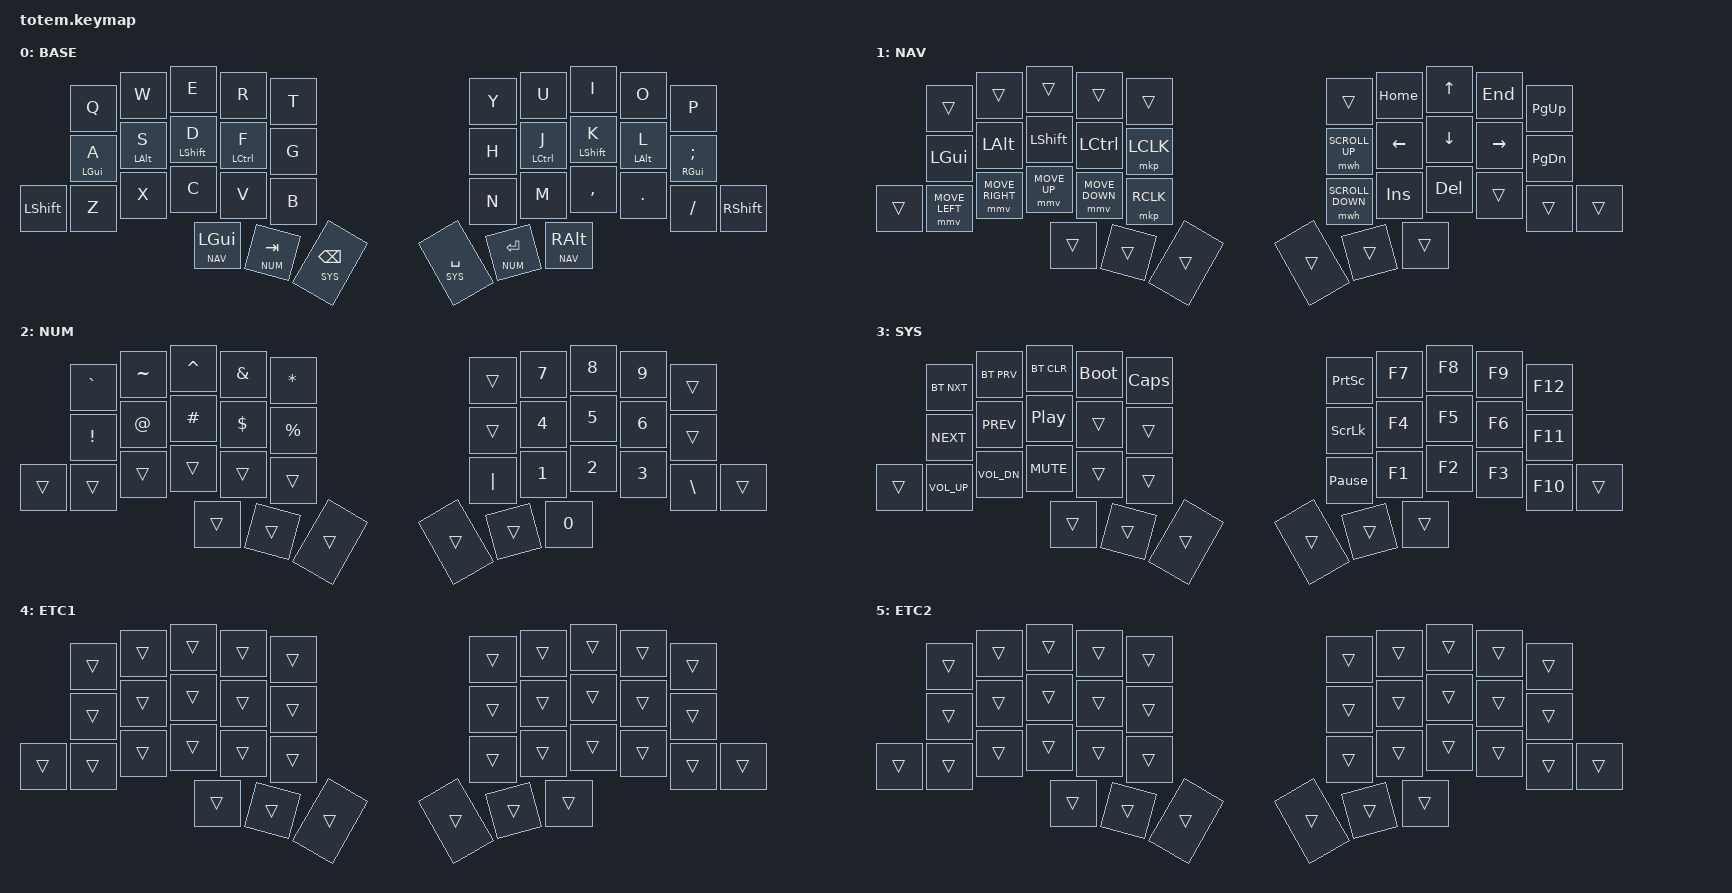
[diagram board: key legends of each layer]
#include <behaviors.dtsi>
#include <dt-bindings/zmk/mouse.h>
#include <dt-bindings/zmk/bt.h>
#include <dt-bindings/zmk/keys.h>

#define BASE 0
#define NAV  1
#define NUM  2
#define SYS  3
#define ETC1 4
#define ETC2 5

// mod-tap

&mt {
    quick-tap-ms = <100>;
    global-quick-tap;
    flavor = "tap-preferred";
    tapping-term-ms = <300>;
};

//      ┏━━━━┳━━━━┳━━━━┳━━━━┳━━━━┓  ┏━━━━┳━━━━┳━━━━┳━━━━┳━━━━┓
//      ┃ 0  ┃ 1  ┃ 2  ┃ 3  ┃ 4  ┃  ┃ 5  ┃ 6  ┃ 7  ┃ 8  ┃ 9  ┃
//      ┣━━━━╋━━━━╋━━━━╋━━━━╋━━━━┫  ┣━━━━╋━━━━╋━━━━╋━━━━╋━━━━┫
//      ┃ 10 ┃ 11 ┃ 12 ┃ 13 ┃ 14 ┃  ┃ 15 ┃ 16 ┃ 17 ┃ 18 ┃ 19 ┃
// ┏━━━━╋━━━━╋━━━━╋━━━━╋━━━━╋━━━━┫  ┣━━━━╋━━━━╋━━━━╋━━━━╋━━━━╋━━━━┓
// ┃ 20 ┃ 21 ┃ 22 ┃ 23 ┃ 24 ┃ 25 ┃  ┃ 26 ┃ 27 ┃ 28 ┃ 29 ┃ 30 ┃ 31 ┃
// ┗━━━━┻━━━━┻━━━━╋━━━━╋━━━━╋━━━━┫  ┣━━━━╋━━━━╋━━━━╋━━━━┻━━━━┻━━━━┛
//                ┃ 32 ┃ 33 ┃ 34 ┃  ┃ 35 ┃ 36 ┃ 37 ┃
//                ┗━━━━┻━━━━┻━━━━┛  ┗━━━━┻━━━━┻━━━━┛

/ {
    combos {
        compatible = "zmk,combos";

        combo_etc1_layer {
            timeout-ms = <50>;
            key-positions = <34 35>;
            bindings = <&mo ETC1>;
        };

        combo_esc {
            timeout-ms = <50>;
            key-positions = <0 1>;
            bindings = <&kp ESC>;
        };

        combo_lpar {
            timeout-ms = <50>;
            key-positions = <12 13>;
            bindings = <&kp LPAR>;
        };

        combo_rpar {
            timeout-ms = <50>;
            key-positions = <16 17>;
            bindings = <&kp RPAR>;
        };

        combo_lbkt {
            timeout-ms = <50>;
            key-positions = <11 12>;
            bindings = <&kp LBKT>;
        };

        combo_rbkt {
            timeout-ms = <50>;
            key-positions = <17 18>;
            bindings = <&kp RBKT>;
        };

        combo_lbrc {
            timeout-ms = <50>;
            key-positions = <1 2>;
            bindings = <&kp LBRC>;
        };

        combo_rbrc {
            timeout-ms = <50>;
            key-positions = <7 8>;
            bindings = <&kp RBRC>;
        };

        combo_lt {
            timeout-ms = <50>;
            key-positions = <2 11>;
            bindings = <&kp LT>;
        };

        combo_gt {
            timeout-ms = <50>;
            key-positions = <7 18>;
            bindings = <&kp GT>;
        };

        combo_plus {
            timeout-ms = <50>;
            key-positions = <23 24>;
            bindings = <&kp PLUS>;
        };

        combo_equal {
            timeout-ms = <50>;
            key-positions = <22 23>;
            bindings = <&kp EQUAL>;
        };

        combo_minus {
            timeout-ms = <50>;
            key-positions = <26 27>;
            bindings = <&kp MINUS>;
        };

        combo_under {
            timeout-ms = <50>;
            key-positions = <27 28>;
            bindings = <&kp UNDER>;
        };

        combo_colon {
            timeout-ms = <50>;
            key-positions = <6 16>;
            bindings = <&kp COLON>;
        };

        combo_dqt {
            timeout-ms = <50>;
            key-positions = <7 17>;
            bindings = <&kp DQT>;
        };

        combo_sqt {
            timeout-ms = <50>;
            key-positions = <8 18>;
            bindings = <&kp SQT>;
        };

        combo_1 {
            timeout-ms = <50>;
            key-positions = <2 3>;
            bindings = <&kp N1>;
        };

        combo_0 {
            timeout-ms = <50>;
            key-positions = <6 7>;
            bindings = <&kp N0>;
        };
    };

    keymap {
        compatible = "zmk,keymap";

        // ▄▄▄▄▄▄▄▄▄▄▄▄▄▄▄▄▄▄▄▄▄▄▄▄▄▄▄▄▄▄▄▄▄▄▄▄▄▄▄▄▄▄▄▄▄▄▄▄▄▄▄▄▄▄▄▄▄▄▄▄▄▄▄▄▄▄▄▄▄▄▄▄▄▄▄▄▄▄▄▄▄▄▄▄▄▄▄▄▄▄▄▄▄▄▄▄▄▄▄▄▄▄▄▄▄▄▄▄▄▄▄▄▄▄▄▄▄▄▄▄▄▄▄▄▄▄▄▄▄▄▄▄▄▄▄▄▄▄▄▄▄▄▄▄▄▄▄▄▄

        base_layer {
            // ┏━━━━━━━━━━━━━━━━━━━━━━━━━━━━━━━━━━━━━━━┓

            label = "BASE";

            // ┗━━━━━━━━━━━━━━━━━━━━━━━━━━━━━━━━━━━━━━━┛
            //             ┏━━━━━━━━━━━┳━━━━━━━━━━━┳━━━━━━━━━━━┳━━━━━━━━━━━┳━━━━━━━━━━━┓   ┏━━━━━━━━━━━┳━━━━━━━━━━━┳━━━━━━━━━━━┳━━━━━━━━━━━┳━━━━━━━━━━━┓
            //             ┃     Q     ┃     W     ┃     E     ┃     R     ┃     T     ┃   ┃     Y     ┃     U     ┃     I     ┃     O     ┃     P     ┃
            //             ┣━━━━━━━━━━━╋━━━━━━━━━━━╋━━━━━━━━━━━╋━━━━━━━━━━━╋━━━━━━━━━━━┫   ┣━━━━━━━━━━━╋━━━━━━━━━━━╋━━━━━━━━━━━╋━━━━━━━━━━━╋━━━━━━━━━━━┫
            //             ┃   A GUI   ┃   S ALT   ┃  D SHIFT  ┃  F CTRL   ┃     G     ┃   ┃     H     ┃  J CTRL   ┃  K SHIFT  ┃   L ALT   ┃  ; GUI    ┃
            // ┏━━━━━━━━━━━╋━━━━━━━━━━━╋━━━━━━━━━━━╋━━━━━━━━━━━╋━━━━━━━━━━━╋━━━━━━━━━━━┫   ┣━━━━━━━━━━━╋━━━━━━━━━━━╋━━━━━━━━━━━╋━━━━━━━━━━━╋━━━━━━━━━━━╋━━━━━━━━━━━┓
            // ┃   SHIFT   ┃     Z     ┃     X     ┃     C     ┃     V     ┃     B     ┃   ┃     N     ┃     M     ┃     ,     ┃     .     ┃     /     ┃   SHIFT   ┃
            // ┗━━━━━━━━━━━┻━━━━━━━━━━━┻━━━━━━━━━━━╋━━━━━━━━━━━╋━━━━━━━━━━━╋━━━━━━━━━━━┫   ┣━━━━━━━━━━━╋━━━━━━━━━━━╋━━━━━━━━━━━╋━━━━━━━━━━━┻━━━━━━━━━━━┻━━━━━━━━━━━┛
            //                                     ┃    GUI    ┃    TAB    ┃   BSPC    ┃   ┃    SPC    ┃ ENTER SYM ┃ RALT NAV  ┃
            //                                     ┗━━━━━━━━━━━┻━━━━━━━━━━━┻━━━━━━━━━━━┛   ┗━━━━━━━━━━━┻━━━━━━━━━━━┻━━━━━━━━━━━┛

            bindings = <
           &kp Q       &kp W       &kp E         &kp R        &kp T           &kp Y          &kp U          &kp I         &kp O       &kp P
           &mt LGUI A  &mt LALT S  &mt LSHFT D   &mt LCTRL F  &kp G           &kp H          &mt LCTRL J    &mt LSHFT K   &mt LALT L  &mt RGUI SEMI
&kp LSHFT  &kp Z       &kp X       &kp C         &kp V        &kp B           &kp N          &kp M          &kp COMMA     &kp DOT     &kp FSLH       &kp RSHFT
                                   &lt NAV LGUI  &lt NUM TAB  &lt SYS BSPC    &lt SYS SPACE  &lt NUM ENTER  &lt NAV RALT
            >;
        };

        // ▄▄▄▄▄▄▄▄▄▄▄▄▄▄▄▄▄▄▄▄▄▄▄▄▄▄▄▄▄▄▄▄▄▄▄▄▄▄▄▄▄▄▄▄▄▄▄▄▄▄▄▄▄▄▄▄▄▄▄▄▄▄▄▄▄▄▄▄▄▄▄▄▄▄▄▄▄▄▄▄▄▄▄▄▄▄▄▄▄▄▄▄▄▄▄▄▄▄▄▄▄▄▄▄▄▄▄▄▄▄▄▄▄▄▄▄▄▄▄▄▄▄▄▄▄▄▄▄▄▄▄▄▄▄▄▄▄▄▄▄▄▄▄▄▄▄▄▄▄

        nav_layer {
            // ┏━━━━━━━━━━━━━━━━━━━━━━━━━━━━━━━━━━━━━━━┓

            label = "NAV";

            // ┗━━━━━━━━━━━━━━━━━━━━━━━━━━━━━━━━━━━━━━━┛
            //             ┏━━━━━━━━━━━┳━━━━━━━━━━━┳━━━━━━━━━━━┳━━━━━━━━━━━┳━━━━━━━━━━━┓   ┏━━━━━━━━━━━┳━━━━━━━━━━━┳━━━━━━━━━━━┳━━━━━━━━━━━┳━━━━━━━━━━━┓
            //             ┃           ┃           ┃           ┃           ┃           ┃   ┃           ┃    HOME   ┃    UP     ┃   END     ┃   P  UP   ┃
            //             ┣━━━━━━━━━━━╋━━━━━━━━━━━╋━━━━━━━━━━━╋━━━━━━━━━━━╋━━━━━━━━━━━┫   ┣━━━━━━━━━━━╋━━━━━━━━━━━╋━━━━━━━━━━━╋━━━━━━━━━━━╋━━━━━━━━━━━┫
            //             ┃ LGUI      ┃ LALT      ┃ LSHIFT    ┃ LCTRL     ┃           ┃   ┃   U_WH_U  ┃    LEFT   ┃    DOWN   ┃   RIGHT   ┃   P DOWN  ┃
            // ┏━━━━━━━━━━━╋━━━━━━━━━━━╋━━━━━━━━━━━╋━━━━━━━━━━━╋━━━━━━━━━━━╋━━━━━━━━━━━┫   ┣━━━━━━━━━━━╋━━━━━━━━━━━╋━━━━━━━━━━━╋━━━━━━━━━━━╋━━━━━━━━━━━╋━━━━━━━━━━━┓
            // ┃           ┃           ┃           ┃           ┃           ┃           ┃   ┃   U_WH_D  ┃    INS    ┃    DEL    ┃           ┃           ┃           ┃
            // ┗━━━━━━━━━━━┻━━━━━━━━━━━┻━━━━━━━━━━━╋━━━━━━━━━━━╋━━━━━━━━━━━╋━━━━━━━━━━━┫   ┣━━━━━━━━━━━╋━━━━━━━━━━━╋━━━━━━━━━━━╋━━━━━━━━━━━┻━━━━━━━━━━━┻━━━━━━━━━━━┛
            //                                     ┃           ┃           ┃           ┃   ┃           ┃           ┃           ┃
            //                                     ┗━━━━━━━━━━━┻━━━━━━━━━━━┻━━━━━━━━━━━┛   ┗━━━━━━━━━━━┻━━━━━━━━━━━┻━━━━━━━━━━━┛

            bindings = <
        &trans          &trans           &trans        &trans          &trans       &trans            &kp HOME  &kp UP    &kp END    &kp PG_UP
        &kp LGUI        &kp LALT         &kp LSHFT     &kp LCTRL       &mkp LCLK    &mwh SCROLL_UP    &kp LEFT  &kp DOWN  &kp RIGHT  &kp PG_DN
&trans  &mmv MOVE_LEFT  &mmv MOVE_RIGHT  &mmv MOVE_UP  &mmv MOVE_DOWN  &mkp RCLK    &mwh SCROLL_DOWN  &kp INS   &kp DEL   &trans     &trans     &trans
                                         &trans        &trans          &trans       &trans            &trans    &trans
            >;
        };

        // ▄▄▄▄▄▄▄▄▄▄▄▄▄▄▄▄▄▄▄▄▄▄▄▄▄▄▄▄▄▄▄▄▄▄▄▄▄▄▄▄▄▄▄▄▄▄▄▄▄▄▄▄▄▄▄▄▄▄▄▄▄▄▄▄▄▄▄▄▄▄▄▄▄▄▄▄▄▄▄▄▄▄▄▄▄▄▄▄▄▄▄▄▄▄▄▄▄▄▄▄▄▄▄▄▄▄▄▄▄▄▄▄▄▄▄▄▄▄▄▄▄▄▄▄▄▄▄▄▄▄▄▄▄▄▄▄▄▄▄▄▄▄▄▄▄▄▄▄▄

        num_layer {
            // ┏━━━━━━━━━━━━━━━━━━━━━━━━━━━━━━━━━━━━━━━┓

            label = "NUM";

            // ┗━━━━━━━━━━━━━━━━━━━━━━━━━━━━━━━━━━━━━━━┛
            //             ┏━━━━━━━━━━━┳━━━━━━━━━━━┳━━━━━━━━━━━┳━━━━━━━━━━━┳━━━━━━━━━━━┓   ┏━━━━━━━━━━━┳━━━━━━━━━━━┳━━━━━━━━━━━┳━━━━━━━━━━━┳━━━━━━━━━━━┓
            //             ┃  `        ┃ ~         ┃  ^        ┃ &         ┃ *         ┃   ┃           ┃ 7         ┃ 8         ┃ 9         ┃           ┃
            //             ┣━━━━━━━━━━━╋━━━━━━━━━━━╋━━━━━━━━━━━╋━━━━━━━━━━━╋━━━━━━━━━━━┫   ┣━━━━━━━━━━━╋━━━━━━━━━━━╋━━━━━━━━━━━╋━━━━━━━━━━━╋━━━━━━━━━━━┫
            //             ┃  !        ┃ @         ┃  #        ┃ $         ┃ %         ┃   ┃           ┃ 4         ┃ 5         ┃ 6         ┃           ┃
            // ┏━━━━━━━━━━━╋━━━━━━━━━━━╋━━━━━━━━━━━╋━━━━━━━━━━━╋━━━━━━━━━━━╋━━━━━━━━━━━┫   ┣━━━━━━━━━━━╋━━━━━━━━━━━╋━━━━━━━━━━━╋━━━━━━━━━━━╋━━━━━━━━━━━╋━━━━━━━━━━━┓
            // ┃           ┃           ┃           ┃           ┃           ┃           ┃   ┃ |         ┃ 1         ┃ 2         ┃ 3         ┃ \         ┃           ┃
            // ┗━━━━━━━━━━━┻━━━━━━━━━━━┻━━━━━━━━━━━╋━━━━━━━━━━━╋━━━━━━━━━━━╋━━━━━━━━━━━┫   ┣━━━━━━━━━━━╋━━━━━━━━━━━╋━━━━━━━━━━━╋━━━━━━━━━━━┻━━━━━━━━━━━┻━━━━━━━━━━━┛
            //                                     ┃           ┃           ┃           ┃   ┃           ┃           ┃ 0         ┃
            //                                     ┗━━━━━━━━━━━┻━━━━━━━━━━━┻━━━━━━━━━━━┛   ┗━━━━━━━━━━━┻━━━━━━━━━━━┻━━━━━━━━━━━┛

            bindings = <
        &kp GRAVE  &kp TILDE  &kp CARET  &kp AMPS  &kp STAR     &trans    &kp N7  &kp N8  &kp N9  &trans
        &kp EXCL   &kp AT     &kp HASH   &kp DLLR  &kp PRCNT    &trans    &kp N4  &kp N5  &kp N6  &trans
&trans  &trans     &trans     &trans     &trans    &trans       &kp PIPE  &kp N1  &kp N2  &kp N3  &kp BSLH  &trans
                              &trans     &trans    &trans       &trans    &trans  &kp N0
            >;
        };

        // ▄▄▄▄▄▄▄▄▄▄▄▄▄▄▄▄▄▄▄▄▄▄▄▄▄▄▄▄▄▄▄▄▄▄▄▄▄▄▄▄▄▄▄▄▄▄▄▄▄▄▄▄▄▄▄▄▄▄▄▄▄▄▄▄▄▄▄▄▄▄▄▄▄▄▄▄▄▄▄▄▄▄▄▄▄▄▄▄▄▄▄▄▄▄▄▄▄▄▄▄▄▄▄▄▄▄▄▄▄▄▄▄▄▄▄▄▄▄▄▄▄▄▄▄▄▄▄▄▄▄▄▄▄▄▄▄▄▄▄▄▄▄▄▄▄▄▄▄▄

        sys_layer {
            // ┏━━━━━━━━━━━━━━━━━━━━━━━━━━━━━━━━━━━━━━━┓

            label = "SYS";

            // ┗━━━━━━━━━━━━━━━━━━━━━━━━━━━━━━━━━━━━━━━┛
            //             ┏━━━━━━━━━━━┳━━━━━━━━━━━┳━━━━━━━━━━━┳━━━━━━━━━━━┳━━━━━━━━━━━┓   ┏━━━━━━━━━━━┳━━━━━━━━━━━┳━━━━━━━━━━━┳━━━━━━━━━━━┳━━━━━━━━━━━┓
            //             ┃ BT NEXT   ┃ BT PREV   ┃ BT CLEAR  ┃ BOOTLOAD  ┃ CAPS LOCK ┃   ┃ Print SCRN┃    F7     ┃    F8     ┃    F9     ┃    F12    ┃
            //             ┣━━━━━━━━━━━╋━━━━━━━━━━━╋━━━━━━━━━━━╋━━━━━━━━━━━╋━━━━━━━━━━━┫   ┣━━━━━━━━━━━╋━━━━━━━━━━━╋━━━━━━━━━━━╋━━━━━━━━━━━╋━━━━━━━━━━━┫
            //             ┃ MEDIA NEXT┃ MEDIA PREV┃ MEDIA p/p ┃           ┃           ┃   ┃Scroll LOCK┃    F4     ┃    F5     ┃    F6     ┃    F11    ┃
            // ┏━━━━━━━━━━━╋━━━━━━━━━━━╋━━━━━━━━━━━╋━━━━━━━━━━━╋━━━━━━━━━━━╋━━━━━━━━━━━┫   ┣━━━━━━━━━━━╋━━━━━━━━━━━╋━━━━━━━━━━━╋━━━━━━━━━━━╋━━━━━━━━━━━╋━━━━━━━━━━━┓
            // ┃           ┃ VOL UP    ┃ VOL DN    ┃ VOL MUTE  ┃           ┃           ┃   ┃PAUSE BREAK┃    F1     ┃    F2     ┃    F3     ┃    F10    ┃           ┃
            // ┗━━━━━━━━━━━┻━━━━━━━━━━━┻━━━━━━━━━━━╋━━━━━━━━━━━╋━━━━━━━━━━━╋━━━━━━━━━━━┫   ┣━━━━━━━━━━━╋━━━━━━━━━━━╋━━━━━━━━━━━╋━━━━━━━━━━━┻━━━━━━━━━━━┻━━━━━━━━━━━┛
            //                                     ┃           ┃           ┃           ┃   ┃           ┃           ┃           ┃
            //                                     ┗━━━━━━━━━━━┻━━━━━━━━━━━┻━━━━━━━━━━━┛   ┗━━━━━━━━━━━┻━━━━━━━━━━━┻━━━━━━━━━━━┛

            bindings = <
        &bt BT_NXT    &bt BT_PRV    &bt BT_CLR  &bootloader  &kp CAPS    &kp PSCRN        &kp F7  &kp F8  &kp F9  &kp F12
        &kp C_NEXT    &kp C_PREV    &kp C_PP    &trans       &trans      &kp SLCK         &kp F4  &kp F5  &kp F6  &kp F11
&trans  &kp C_VOL_UP  &kp C_VOL_DN  &kp C_MUTE  &trans       &trans      &kp PAUSE_BREAK  &kp F1  &kp F2  &kp F3  &kp F10  &trans
                                    &trans      &trans       &trans      &trans           &trans  &trans
            >;
        };

        // ▄▄▄▄▄▄▄▄▄▄▄▄▄▄▄▄▄▄▄▄▄▄▄▄▄▄▄▄▄▄▄▄▄▄▄▄▄▄▄▄▄▄▄▄▄▄▄▄▄▄▄▄▄▄▄▄▄▄▄▄▄▄▄▄▄▄▄▄▄▄▄▄▄▄▄▄▄▄▄▄▄▄▄▄▄▄▄▄▄▄▄▄▄▄▄▄▄▄▄▄▄▄▄▄▄▄▄▄▄▄▄▄▄▄▄▄▄▄▄▄▄▄▄▄▄▄▄▄▄▄▄▄▄▄▄▄▄▄▄▄▄▄▄▄▄▄▄▄▄

        etc1_layer {
            // ┏━━━━━━━━━━━━━━━━━━━━━━━━━━━━━━━━━━━━━━━┓

            label = "ETC1";

            // ┗━━━━━━━━━━━━━━━━━━━━━━━━━━━━━━━━━━━━━━━┛
            //             ┏━━━━━━━━━━━┳━━━━━━━━━━━┳━━━━━━━━━━━┳━━━━━━━━━━━┳━━━━━━━━━━━┓   ┏━━━━━━━━━━━┳━━━━━━━━━━━┳━━━━━━━━━━━┳━━━━━━━━━━━┳━━━━━━━━━━━┓
            //             ┃           ┃           ┃           ┃           ┃           ┃   ┃           ┃           ┃           ┃           ┃           ┃
            //             ┣━━━━━━━━━━━╋━━━━━━━━━━━╋━━━━━━━━━━━╋━━━━━━━━━━━╋━━━━━━━━━━━┫   ┣━━━━━━━━━━━╋━━━━━━━━━━━╋━━━━━━━━━━━╋━━━━━━━━━━━╋━━━━━━━━━━━┫
            //             ┃           ┃           ┃           ┃           ┃           ┃   ┃           ┃           ┃           ┃           ┃           ┃
            // ┏━━━━━━━━━━━╋━━━━━━━━━━━╋━━━━━━━━━━━╋━━━━━━━━━━━╋━━━━━━━━━━━╋━━━━━━━━━━━┫   ┣━━━━━━━━━━━╋━━━━━━━━━━━╋━━━━━━━━━━━╋━━━━━━━━━━━╋━━━━━━━━━━━╋━━━━━━━━━━━┓
            // ┃           ┃           ┃           ┃           ┃           ┃           ┃   ┃           ┃           ┃           ┃           ┃           ┃           ┃
            // ┗━━━━━━━━━━━┻━━━━━━━━━━━┻━━━━━━━━━━━╋━━━━━━━━━━━╋━━━━━━━━━━━╋━━━━━━━━━━━┫   ┣━━━━━━━━━━━╋━━━━━━━━━━━╋━━━━━━━━━━━╋━━━━━━━━━━━┻━━━━━━━━━━━┻━━━━━━━━━━━┛
            //                                     ┃           ┃           ┃           ┃   ┃           ┃           ┃           ┃
            //                                     ┗━━━━━━━━━━━┻━━━━━━━━━━━┻━━━━━━━━━━━┛   ┗━━━━━━━━━━━┻━━━━━━━━━━━┻━━━━━━━━━━━┛

            bindings = <
        &trans  &trans  &trans  &trans  &trans    &trans  &trans  &trans  &trans  &trans
        &trans  &trans  &trans  &trans  &trans    &trans  &trans  &trans  &trans  &trans
&trans  &trans  &trans  &trans  &trans  &trans    &trans  &trans  &trans  &trans  &trans  &trans
                        &trans  &trans  &trans    &trans  &trans  &trans
            >;
        };

        // ▄▄▄▄▄▄▄▄▄▄▄▄▄▄▄▄▄▄▄▄▄▄▄▄▄▄▄▄▄▄▄▄▄▄▄▄▄▄▄▄▄▄▄▄▄▄▄▄▄▄▄▄▄▄▄▄▄▄▄▄▄▄▄▄▄▄▄▄▄▄▄▄▄▄▄▄▄▄▄▄▄▄▄▄▄▄▄▄▄▄▄▄▄▄▄▄▄▄▄▄▄▄▄▄▄▄▄▄▄▄▄▄▄▄▄▄▄▄▄▄▄▄▄▄▄▄▄▄▄▄▄▄▄▄▄▄▄▄▄▄▄▄▄▄▄▄▄▄▄

        etc2_layer {
            // ┏━━━━━━━━━━━━━━━━━━━━━━━━━━━━━━━━━━━━━━━┓

            label = "ETC2";

            // ┗━━━━━━━━━━━━━━━━━━━━━━━━━━━━━━━━━━━━━━━┛
            //             ┏━━━━━━━━━━━┳━━━━━━━━━━━┳━━━━━━━━━━━┳━━━━━━━━━━━┳━━━━━━━━━━━┓   ┏━━━━━━━━━━━┳━━━━━━━━━━━┳━━━━━━━━━━━┳━━━━━━━━━━━┳━━━━━━━━━━━┓
            //             ┃           ┃           ┃           ┃           ┃           ┃   ┃           ┃           ┃           ┃           ┃           ┃
            //             ┣━━━━━━━━━━━╋━━━━━━━━━━━╋━━━━━━━━━━━╋━━━━━━━━━━━╋━━━━━━━━━━━┫   ┣━━━━━━━━━━━╋━━━━━━━━━━━╋━━━━━━━━━━━╋━━━━━━━━━━━╋━━━━━━━━━━━┫
            //             ┃           ┃           ┃           ┃           ┃           ┃   ┃           ┃           ┃           ┃           ┃           ┃
            // ┏━━━━━━━━━━━╋━━━━━━━━━━━╋━━━━━━━━━━━╋━━━━━━━━━━━╋━━━━━━━━━━━╋━━━━━━━━━━━┫   ┣━━━━━━━━━━━╋━━━━━━━━━━━╋━━━━━━━━━━━╋━━━━━━━━━━━╋━━━━━━━━━━━╋━━━━━━━━━━━┓
            // ┃           ┃           ┃           ┃           ┃           ┃           ┃   ┃           ┃           ┃           ┃           ┃           ┃           ┃
            // ┗━━━━━━━━━━━┻━━━━━━━━━━━┻━━━━━━━━━━━╋━━━━━━━━━━━╋━━━━━━━━━━━╋━━━━━━━━━━━┫   ┣━━━━━━━━━━━╋━━━━━━━━━━━╋━━━━━━━━━━━╋━━━━━━━━━━━┻━━━━━━━━━━━┻━━━━━━━━━━━┛
            //                                     ┃           ┃           ┃           ┃   ┃           ┃           ┃           ┃
            //                                     ┗━━━━━━━━━━━┻━━━━━━━━━━━┻━━━━━━━━━━━┛   ┗━━━━━━━━━━━┻━━━━━━━━━━━┻━━━━━━━━━━━┛

            bindings = <
        &trans  &trans  &trans  &trans  &trans    &trans  &trans  &trans  &trans  &trans
        &trans  &trans  &trans  &trans  &trans    &trans  &trans  &trans  &trans  &trans
&trans  &trans  &trans  &trans  &trans  &trans    &trans  &trans  &trans  &trans  &trans  &trans
                        &trans  &trans  &trans    &trans  &trans  &trans
            >;
        };
    };
};

//             ┏━━━━━━━━━━━┳━━━━━━━━━━━┳━━━━━━━━━━━┳━━━━━━━━━━━┳━━━━━━━━━━━┓   ┏━━━━━━━━━━━┳━━━━━━━━━━━┳━━━━━━━━━━━┳━━━━━━━━━━━┳━━━━━━━━━━━┓
//             ┃           ┃           ┃           ┃           ┃           ┃   ┃           ┃           ┃           ┃           ┃           ┃
//             ┣━━━━━━━━━━━╋━━━━━━━━━━━╋━━━━━━━━━━━╋━━━━━━━━━━━╋━━━━━━━━━━━┫   ┣━━━━━━━━━━━╋━━━━━━━━━━━╋━━━━━━━━━━━╋━━━━━━━━━━━╋━━━━━━━━━━━┫
//             ┃           ┃           ┃           ┃           ┃           ┃   ┃           ┃           ┃           ┃           ┃           ┃
// ┏━━━━━━━━━━━╋━━━━━━━━━━━╋━━━━━━━━━━━╋━━━━━━━━━━━╋━━━━━━━━━━━╋━━━━━━━━━━━┫   ┣━━━━━━━━━━━╋━━━━━━━━━━━╋━━━━━━━━━━━╋━━━━━━━━━━━╋━━━━━━━━━━━╋━━━━━━━━━━━┓
// ┃           ┃           ┃           ┃           ┃           ┃           ┃   ┃           ┃           ┃           ┃           ┃           ┃           ┃
// ┗━━━━━━━━━━━┻━━━━━━━━━━━┻━━━━━━━━━━━╋━━━━━━━━━━━╋━━━━━━━━━━━╋━━━━━━━━━━━┫   ┣━━━━━━━━━━━╋━━━━━━━━━━━╋━━━━━━━━━━━╋━━━━━━━━━━━┻━━━━━━━━━━━┻━━━━━━━━━━━┛
//                                     ┃           ┃           ┃           ┃   ┃           ┃           ┃           ┃
//                                     ┗━━━━━━━━━━━┻━━━━━━━━━━━┻━━━━━━━━━━━┛   ┗━━━━━━━━━━━┻━━━━━━━━━━━┻━━━━━━━━━━━┛
//             &trans      &trans      &trans      &trans      &trans          &trans      &trans      &trans      &trans      &trans                 
//             &trans      &trans      &trans      &trans      &trans          &trans      &trans      &trans      &trans      &trans            
// &trans      &trans      &trans      &trans      &trans      &trans          &trans      &trans      &trans      &trans      &trans      &trans
//                                     &trans      &trans      &trans          &trans      &trans      &trans                                    
